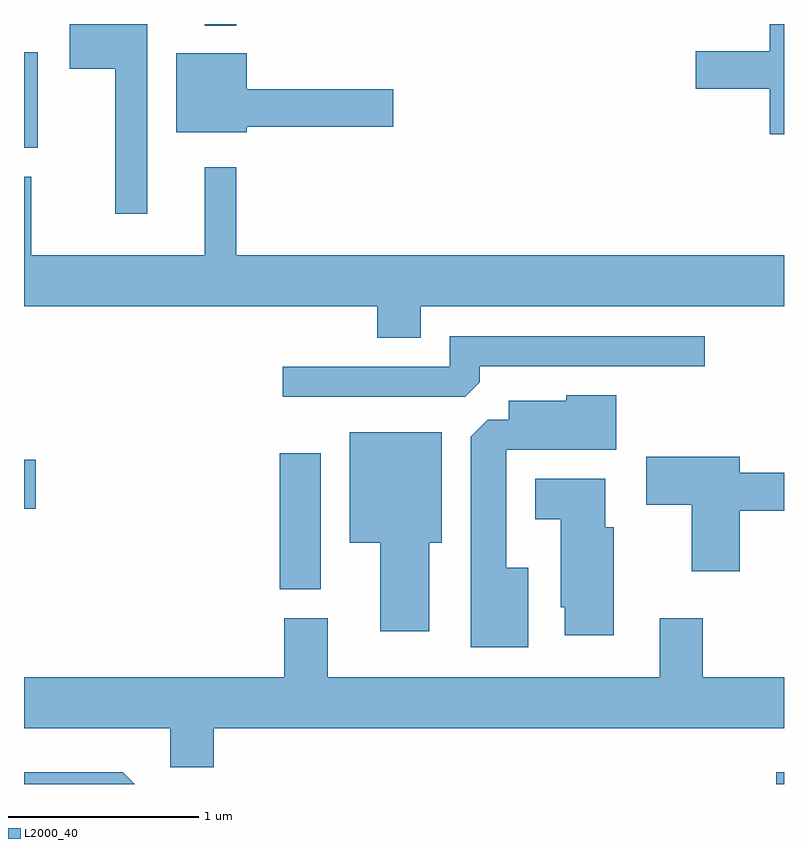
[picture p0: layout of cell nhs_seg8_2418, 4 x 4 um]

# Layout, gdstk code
import gdstk
lib = gdstk.Library(unit=1e-6, precision=1e-09)
def R(c, l, rs):  # rectangles x0, y0, x1, y1
    for r in rs: c.add(gdstk.rectangle(r[:2], r[2:], *l))
def P(c, l, *ps):  # polygons
    for p in ps: c.add(gdstk.Polygon(p, *l))
L2000_40 = (2000, 40)

nhs_seg8_2418 = lib.new_cell('nhs_seg8_2418')
R(nhs_seg8_2418, L2000_40, [(261.571,1838.342,261.611,1838.404), (258.956,1839.366,259.174,1840.084), (257.611,1839.791,257.674,1840.049), (257.611,1841.691,257.684,1842.194), (258.561,1842.333,258.729,1842.342)])
P(nhs_seg8_2418, L2000_40, [(258.259,1842.342),(257.851,1842.342),(257.851,1842.106),(258.091,1842.106),(258.091,1841.343),(258.259,1841.343)],
  [(261.611,1842.342),(261.536,1842.342),(261.536,1842.199),(261.146,1842.199),(261.146,1842.001),(261.536,1842.001),(261.536,1841.761),(261.611,1841.761)],
  [(258.784,1841.801),(259.554,1841.801),(259.554,1841.999),(258.784,1841.999),(258.784,1842.189),(258.411,1842.189),(258.411,1841.771),(258.784,1841.771)],
  [(259.699,1840.856),(261.611,1840.856),(261.611,1841.124),(258.729,1841.124),(258.729,1841.588),(258.561,1841.588),(258.561,1841.124),(257.649,1841.124),(257.649,1841.539),(257.611,1841.539),(257.611,1840.856),(259.471,1840.856),(259.471,1840.691),(259.699,1840.691)],
  [(260.009,1840.457),(260.009,1840.541),(261.193,1840.541),(261.193,1840.699),(259.851,1840.699),(259.851,1840.539),(258.973,1840.539),(258.973,1840.381),(259.933,1840.381)],
  [(260.264,1839.479),(260.149,1839.479),(260.149,1840.101),(260.729,1840.101),(260.729,1840.389),(260.466,1840.389),(260.466,1840.359),(260.161,1840.359),(260.161,1840.259),(260.052,1840.259),(259.961,1840.169),(259.961,1839.061),(260.264,1839.061)],
  [(259.744,1839.611),(259.809,1839.611),(259.809,1840.194),(259.326,1840.194),(259.326,1839.611),(259.486,1839.611),(259.486,1839.146),(259.744,1839.146)],
  [(261.379,1839.781),(261.611,1839.781),(261.611,1839.979),(261.379,1839.979),(261.379,1840.064),(260.886,1840.064),(260.886,1839.811),(261.126,1839.811),(261.126,1839.461),(261.379,1839.461)],
  [(260.714,1839.694),(260.669,1839.694),(260.669,1839.949),(260.301,1839.949),(260.301,1839.736),(260.436,1839.736),(260.436,1839.271),(260.456,1839.271),(260.456,1839.126),(260.714,1839.126)],
  [(258.609,1838.636),(261.611,1838.636),(261.611,1838.904),(261.184,1838.904),(261.184,1839.214),(260.956,1839.214),(260.956,1838.904),(259.209,1838.904),(259.209,1839.214),(258.981,1839.214),(258.981,1838.904),(257.611,1838.904),(257.611,1838.636),(258.381,1838.636),(258.381,1838.431),(258.609,1838.431)],
  [(258.132,1838.404),(257.611,1838.404),(257.611,1838.342),(258.194,1838.342)])

lib.write_gds('nhs_seg8_2418.gds')
